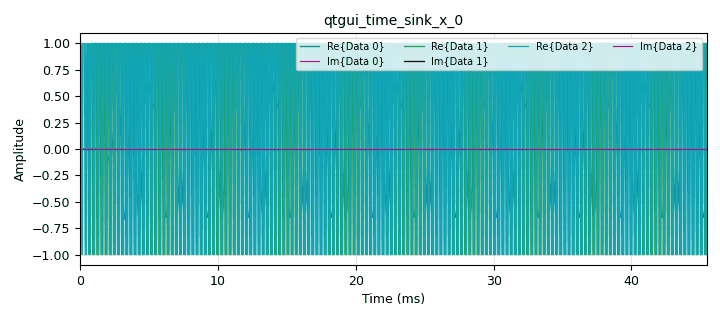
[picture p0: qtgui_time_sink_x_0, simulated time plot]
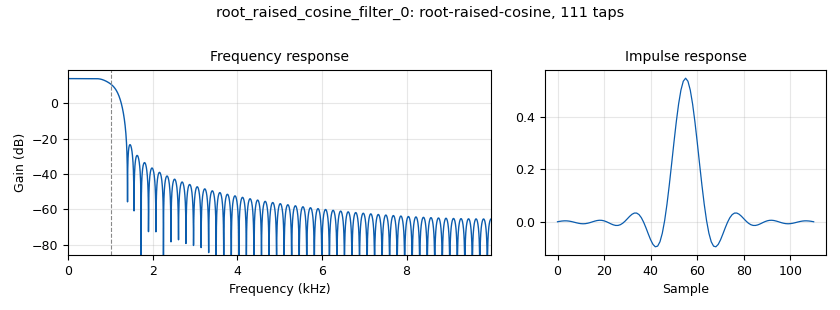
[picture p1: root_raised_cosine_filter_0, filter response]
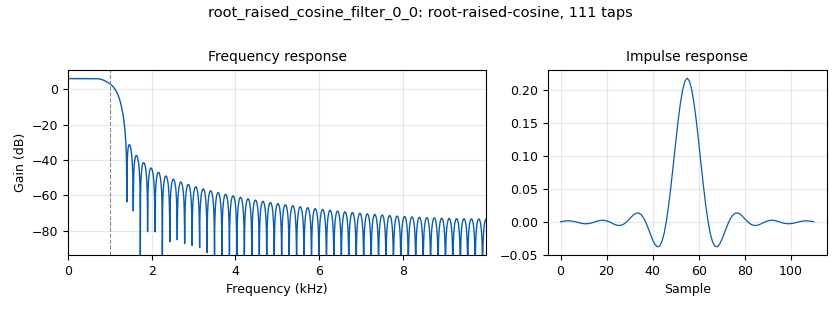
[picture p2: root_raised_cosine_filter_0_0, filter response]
options:
  parameters:
    author: venkat
    generate_options: qt_gui
    generator_class_name: PythonQtGuiGenerator
    generator_module: gnuradio.grc.workflows.python_qt_gui
    id: basebandMod
    output_language: python
    title: Not titled yet
  states: {}

blocks:
- name: Rs
  id: variable
  parameters:
    value: '2000'
  states: {}
- name: alpha
  id: variable
  parameters:
    value: '0.35'
  states: {}
- name: samp_rate
  id: variable
  parameters:
    value: Rs*sps
  states: {}
- name: sps
  id: variable
  parameters:
    value: '10'
  states: {}
- name: analog_sig_source_x_0
  id: analog_sig_source_x
  parameters:
    amp: '1'
    freq: 1000*1
    offset: '0'
    phase: '0'
    samp_rate: samp_rate
    type: complex
    waveform: analog.GR_COS_WAVE
  states: {}
- name: blocks_throttle2_0
  id: blocks_throttle2
  parameters:
    samples_per_second: samp_rate
    type: complex
  states: {}
- name: blocks_vector_source_x_0
  id: blocks_vector_source_x
  parameters:
    repeat: 'True'
    type: complex
    vector: '[1, -1, 1, -1, 1, 1] '
  states: {}
- name: qtgui_freq_sink_x_0
  id: qtgui_freq_sink_x
  parameters:
    autoscale: 'True'
    bw: samp_rate
    fc: '0'
    fftsize: '1024'
    grid: 'True'
    nconnections: '3'
    type: complex
  states: {}
- name: qtgui_time_sink_x_0
  id: qtgui_time_sink_x
  parameters:
    autoscale: 'True'
    grid: 'True'
    nconnections: '3'
    size: '1024'
    srate: samp_rate
    type: complex
  states: {}
- name: root_raised_cosine_filter_0
  id: root_raised_cosine_filter
  parameters:
    alpha: alpha
    gain: '5'
    interp: sps
    ntaps: 11*sps+1
    samp_rate: samp_rate
    sym_rate: Rs
    type: interp_fir_filter_ccf
  states: {}
- name: root_raised_cosine_filter_0_0
  id: root_raised_cosine_filter
  parameters:
    alpha: alpha
    decim: sps
    gain: '2.0'
    ntaps: 11*sps+1
    samp_rate: samp_rate
    sym_rate: Rs
    type: fir_filter_ccf
  states: {}
- name: virtual_sink_0
  id: virtual_sink
  parameters:
    stream_id: i1
  states: {}
- name: virtual_sink_0_0
  id: virtual_sink
  parameters:
    stream_id: i2
  states: {}
- name: virtual_source_0
  id: virtual_source
  parameters:
    stream_id: i1
  states: {}

connections:
- [analog_sig_source_x_0, '0', virtual_sink_0_0, '0']
- [blocks_throttle2_0, '0', qtgui_freq_sink_x_0, '1']
- [blocks_throttle2_0, '0', qtgui_time_sink_x_0, '1']
- [blocks_vector_source_x_0, '0', virtual_sink_0, '0']
- [root_raised_cosine_filter_0, '0', qtgui_freq_sink_x_0, '0']
- [root_raised_cosine_filter_0, '0', qtgui_time_sink_x_0, '0']
- [root_raised_cosine_filter_0, '0', root_raised_cosine_filter_0_0, '0']
- [root_raised_cosine_filter_0_0, '0', blocks_throttle2_0, '0']
- [virtual_source_0, '0', qtgui_freq_sink_x_0, '2']
- [virtual_source_0, '0', qtgui_time_sink_x_0, '2']
- [virtual_source_0, '0', root_raised_cosine_filter_0, '0']

metadata:
  file_format: 1
  grc_version: 3.10.12.0
